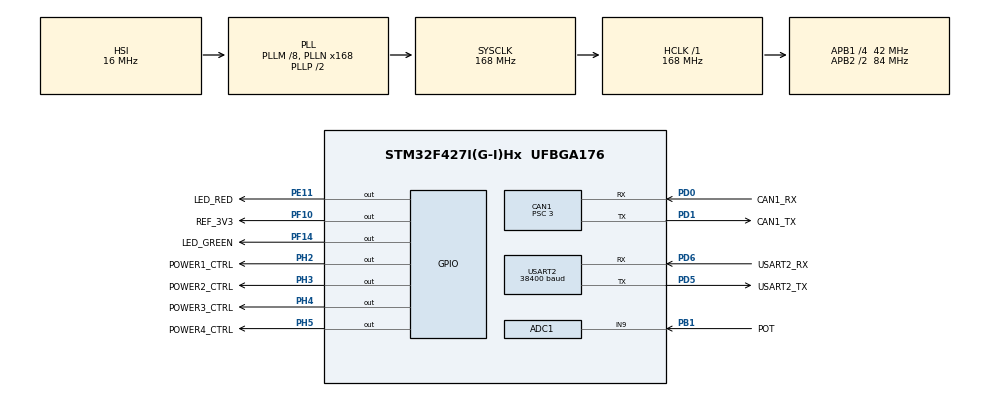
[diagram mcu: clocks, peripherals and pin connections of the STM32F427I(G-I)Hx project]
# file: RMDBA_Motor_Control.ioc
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ADC1.Channel-0\#ChannelRegularConversion=ADC_CHANNEL_9
ADC1.NbrOfConversionFlag=1
ADC1.Rank-0\#ChannelRegularConversion=1
ADC1.SamplingTime-0\#ChannelRegularConversion=ADC_SAMPLETIME_3CYCLES
ADC1.master=1
CAN1.ABOM=ENABLE
CAN1.BS1=CAN_BS1_9TQ
CAN1.BS2=CAN_BS2_4TQ
CAN1.CalculateTimeQuantum=71.42857142857143
CAN1.Prescaler=3
CAN1.TXFP=ENABLE
Mcu.Family=STM32F4
Mcu.Name=STM32F427I(G-I)Hx
Mcu.Package=UFBGA176
NVIC.CAN1_RX0_IRQn=true\:0\:0\:false\:false\:true\:true\:true
NVIC.PriorityGroup=NVIC_PRIORITYGROUP_4
NVIC.TIM1_BRK_TIM9_IRQn=true\:0\:0\:false\:false\:true\:true\:true
NVIC.TIM8_BRK_TIM12_IRQn=true\:1\:0\:true\:false\:true\:true\:true
PA0/WKUP.GPIO_Label=USART2_CTS
PA0/WKUP.Signal=USART2_CTS
PA1.GPIO_Label=USART2_RTS
PA1.Signal=USART2_RTS
PB1.GPIO_Label=POT
PB1.Signal=ADCx_IN9
PD0.GPIO_Label=CAN1_RX
PD0.Mode=Master
PD0.Signal=CAN1_RX
PD1.GPIO_Label=CAN1_TX
PD1.Mode=Master
PD1.Signal=CAN1_TX
PD5.GPIO_Label=USART2_TX
PD5.Mode=Asynchronous
PD5.Signal=USART2_TX
PD6.GPIO_Label=USART2_RX
PD6.Mode=Asynchronous
PD6.Signal=USART2_RX
PE11.GPIO_Label=LED_RED
PE11.PinState=GPIO_PIN_SET
PE11.Signal=GPIO_Output
PF10.GPIO_Label=REF_3V3
PF10.PinState=GPIO_PIN_SET
PF10.Signal=GPIO_Output
PF14.GPIO_Label=LED_GREEN
PF14.PinState=GPIO_PIN_SET
PF14.Signal=GPIO_Output
PH0/OSC_IN.Mode=HSE-External-Oscillator
PH0/OSC_IN.Signal=RCC_OSC_IN
PH1/OSC_OUT.Mode=HSE-External-Oscillator
PH1/OSC_OUT.Signal=RCC_OSC_OUT
PH2.GPIO_Label=POWER1_CTRL
PH2.Signal=GPIO_Output
PH3.GPIO_Label=POWER2_CTRL
PH3.Signal=GPIO_Output
PH4.GPIO_Label=POWER3_CTRL
PH4.Signal=GPIO_Output
PH5.GPIO_Label=POWER4_CTRL
PH5.Signal=GPIO_Output
ProjectManager.HeapSize=0x200
ProjectManager.StackSize=0x400
ProjectManager.TargetToolchain=STM32CubeIDE
RCC.48MHZClocksFreq_Value=84000000
RCC.AHBFreq_Value=168000000
RCC.APB1CLKDivider=RCC_HCLK_DIV4
RCC.APB1Freq_Value=42000000
RCC.APB1TimFreq_Value=84000000
RCC.APB2CLKDivider=RCC_HCLK_DIV2
RCC.APB2Freq_Value=84000000
RCC.APB2TimFreq_Value=168000000
RCC.CortexFreq_Value=168000000
RCC.HCLKFreq_Value=168000000
RCC.HSE_VALUE=12000000
RCC.HSI_VALUE=16000000
RCC.LSE_VALUE=32768
RCC.PLLM=8
RCC.PLLN=168
RCC.SYSCLKFreq_VALUE=168000000
RCC.SYSCLKSource=RCC_SYSCLKSOURCE_PLLCLK
RCC.VCOOutputFreq_Value=336000000
SH.ADCx_IN9.0=ADC1_IN9,IN9
TIM12.Period=60000
TIM12.Prescaler=700
TIM9.AutoReloadPreload=TIM_AUTORELOAD_PRELOAD_DISABLE
TIM9.Period=56000
TIM9.Prescaler=2
USART2.BaudRate=38400
USART2.VirtualMode=VM_ASYNC
VP_TIM12_VS_ClockSourceINT.Mode=Internal
VP_TIM9_VS_ClockSourceINT.Mode=Internal
board=custom

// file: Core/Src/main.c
/* USER CODE BEGIN Header */
/**
  ******************************************************************************
  * @file           : main.c
  * @brief          : Main program body
  ******************************************************************************
  * @attention
  *
  * <h2><center>&copy; Copyright (c) 2020 STMicroelectronics.
  * All rights reserved.</center></h2>
  *
  * This software component is licensed by ST under BSD 3-Clause license,
  * the "License"; You may not use this file except in compliance with the
  * License. You may obtain a copy of the License at:
  *                        opensource.org/licenses/BSD-3-Clause
  *
  ******************************************************************************
  */
/* USER CODE END Header */

#include "main.h"
#include "adc.h"
#include "can.h"
#include "tim.h"
#include "usart.h"
#include "gpio.h"

/* USER CODE BEGIN Includes */
#include "pid.h"
#include "gm6020.h"
#include "stdio.h"
/* USER CODE END Includes */

/* USER CODE BEGIN PV */
PID_Controller torq_cntlrs[4];
PID_Controller vel_cntlrs[4];
PID_Controller pos_cntlrs[4];
float ref[] = {0, 0, 0, 0};
uint16_t motor_offs[4] = {2737, 3986, 1292, 4173};
int8_t motor_dirs[4] = {1, -1, -1, 1};
Motor motors[4];
uint16_t pot_hist[100];
int16_t avgtrack;
/* USER CODE END PV */

void SystemClock_Config(void);

/* USER CODE BEGIN 0 */
/**
  * @brief	PID controller update
  */
void motor_cntl_update() {
	// Uncomment to use potentiometer as reference
//	int32_t avg = 0;
//	for(uint8_t i = 99; i > 0; --i)
//		pot_hist[i] = pot_hist[i-1];
//	pot_hist[0] = get_pot_value(&hadc1);
//
//	for(uint8_t i = 0; i < 100; ++i)
//		avg += pot_hist[i];
//	avg /= 100;
//	ref[3] = (float) (avg-2048) * 8 * TICK_TO_RAD;

	for(uint8_t i = 0; i < 4; ++i) {
//		pid_update(&torq_cntlrs[i], ref[i], (float) motors[i].cur*MA_TO_NM);

//		pid_update(&vel_cntlrs[i], ref[i], (float) motors[i].vel*RPM_TO_RADpS);
		pid_update(&pos_cntlrs[i], ref[i], (float) motors[i].pos*TICK_TO_RAD);

		pid_update(&torq_cntlrs[i], pos_cntlrs[i].u, (float) motors[i].cur*MA_TO_NM);

		if(i == 3)
			set_voltage(&motors[i], (int16_t) torq_cntlrs[i].u);
	}
	send_voltage(&hcan1, motors);

	// Uncomment to capture data for analysis
//	unsigned char byte_ptr[16];
//	sprintf(&byte_ptr[0], "%6d,%6d\r\n", (int16_t)(ref[3]/RPM_TO_RADpS), motors[3].vel);
//	sprintf(&byte_ptr[0], "%6d,%6d\r\n", (int16_t)(ref[3]/MA_TO_NM), motors[3].cur);	// current, size 16
//	HAL_UART_Transmit(&huart2, byte_ptr, 16, HAL_MAX_DELAY);

	return;
}

/**
  * @brief	Send some info over USART
  */
void send_serial() {
	unsigned char byte_ptr[30];
	uint8_t len = sizeof(byte_ptr) / sizeof(byte_ptr[0]);

	// Uncomment to toggle the reference sign
//	ref[3] *= -1;

//	sprintf(&byte_ptr[0], "%6d\t%6d\t%6d\t%6d\r\n", motors[0].raw_pos, motors[1].raw_pos, motors[2].raw_pos, motors[3].raw_pos);
	sprintf(&byte_ptr[0], "%6d\t%6d\t%6d\t%6d\r\n", motors[0].pos, motors[1].pos, motors[2].pos, motors[3].pos);
//	sprintf(&byte_ptr[0], "%6d\t%6d\t%6d\t%6d\r\n", motors[3].volt, motors[3].cur, motors[3].vel, motors[3].pos);

	HAL_UART_Transmit(&huart2, byte_ptr, len, HAL_MAX_DELAY);	// Send data

	HAL_GPIO_TogglePin(LED_RED_GPIO_Port, LED_RED_Pin);
	return;
}
/* USER CODE END 0 */

int main(void)
{

  /* MCU Configuration--------------------------------------------------------*/

  /* Reset of all peripherals, Initializes the Flash interface and the Systick. */
  HAL_Init();

  /* Configure the system clock */
  SystemClock_Config();

  /* Initialize all configured peripherals */
  MX_GPIO_Init();
  MX_CAN1_Init();
  MX_TIM9_Init();
  MX_ADC1_Init();
  MX_TIM12_Init();
  MX_USART2_UART_Init();
  /* USER CODE BEGIN 2 */
  // Initialize PID controllers
  for(uint8_t i = 0; i < 4; ++i) {
//	  pid_init(&pos_cntlrs[i], 100.0f, 10.0f, 8.0f, 0.001f, 2.0f, 5.0f, 1.0f);
//	  pid_init(&torq_cntlrs[i], 50.0f, 10000.0f, 0.0f, 0.001f, 30000.0f, 30000.0f, 1.0f);

//	  pid_init(&pos_cntlrs[i], 1.0f, 0.5f, 0.055f, 0.001f, 2.0f, 5.0f, 1.0f);
//	  pid_init(&vel_cntlrs[i], 0.08f, 50.0f, 0.0f, 0.001f, 2.0f, 5.0f, 1.0f);

//	  pid_init(&pos_cntlrs[i], 0.0f, 0.0f, 0.0f, 0.001f, 2.0f, 5.0f, 1.0f);
//	  pid_init(&torq_cntlrs[i], 300.0f, 125000.0f, 0.0f, 0.001f, 30000.0f, 30000.0f, 1.0f);

	  pid_init(&pos_cntlrs[i], 200.0f, 0.001f, 0.00006f, 0.001f, 2.0f, 5.0f, 1.0f);
	  pid_init(&torq_cntlrs[i], 160.0f, 0.0f, 0.00006f, 0.001f, 30000.0f, 30000.0f, 1.0f);
//  pid_init(&cntlrs[i], 40, 3000, 0, 0.001, 30000, 30000, 1);
  }

  // Initialize motors
  for(uint8_t i = 0; i < 4; ++i) {
	  motor_init(&motors[i], i+1, motor_dirs[i]);
	  motors[i].off = motor_offs[i];
  }

  // Finish CAN initialization for robot motors.
  can_motors_init(&hcan1);

  // Turn motors on
  power_on_motors();
  HAL_Delay(500);	// Give motors some time to turn on, otherwise will jerk on startup

  // Enable CAN
  HAL_CAN_Start(&hcan1);
  HAL_Delay(100);

  // Enable timer interrupts
  HAL_TIM_Base_Start_IT(&htim9);
  HAL_TIM_Base_Start_IT(&htim12);
  /* USER CODE END 2 */

  /* Infinite loop */
  while (1)
  {

  }
}

void SystemClock_Config(void)
{
  RCC_OscInitTypeDef RCC_OscInitStruct = {0};
  RCC_ClkInitTypeDef RCC_ClkInitStruct = {0};

  /** Configure the main internal regulator output voltage
  */
  __HAL_RCC_PWR_CLK_ENABLE();
  __HAL_PWR_VOLTAGESCALING_CONFIG(PWR_REGULATOR_VOLTAGE_SCALE1);
  /** Initializes the CPU, AHB and APB busses clocks
  */
  RCC_OscInitStruct.OscillatorType = RCC_OSCILLATORTYPE_HSI;
  RCC_OscInitStruct.HSIState = RCC_HSI_ON;
  RCC_OscInitStruct.HSICalibrationValue = RCC_HSICALIBRATION_DEFAULT;
  RCC_OscInitStruct.PLL.PLLState = RCC_PLL_ON;
  RCC_OscInitStruct.PLL.PLLSource = RCC_PLLSOURCE_HSI;
  RCC_OscInitStruct.PLL.PLLM = 8;
  RCC_OscInitStruct.PLL.PLLN = 168;
  RCC_OscInitStruct.PLL.PLLP = RCC_PLLP_DIV2;
  RCC_OscInitStruct.PLL.PLLQ = 4;
  if (HAL_RCC_OscConfig(&RCC_OscInitStruct) != HAL_OK)
  {
    Error_Handler();
  }
  /** Initializes the CPU, AHB and APB busses clocks
  */
  RCC_ClkInitStruct.ClockType = RCC_CLOCKTYPE_HCLK|RCC_CLOCKTYPE_SYSCLK
                              |RCC_CLOCKTYPE_PCLK1|RCC_CLOCKTYPE_PCLK2;
  RCC_ClkInitStruct.SYSCLKSource = RCC_SYSCLKSOURCE_PLLCLK;
  RCC_ClkInitStruct.AHBCLKDivider = RCC_SYSCLK_DIV1;
  RCC_ClkInitStruct.APB1CLKDivider = RCC_HCLK_DIV4;
  RCC_ClkInitStruct.APB2CLKDivider = RCC_HCLK_DIV2;

  if (HAL_RCC_ClockConfig(&RCC_ClkInitStruct, FLASH_LATENCY_5) != HAL_OK)
  {
    Error_Handler();
  }
}

void Error_Handler(void)
{
}

/************************ (C) COPYRIGHT STMicroelectronics *****END OF FILE****/
